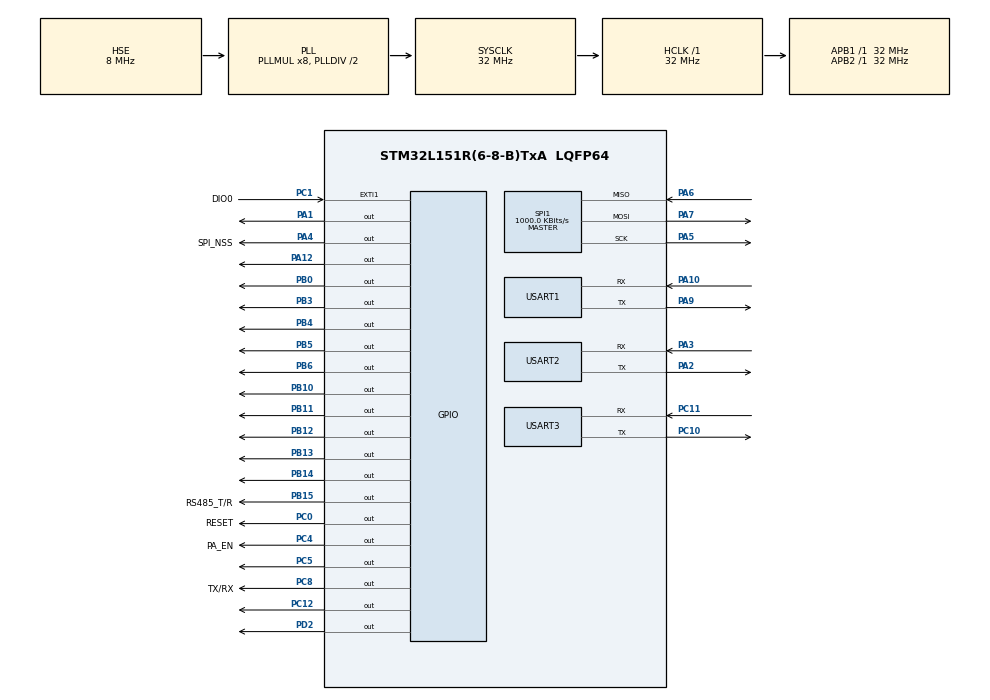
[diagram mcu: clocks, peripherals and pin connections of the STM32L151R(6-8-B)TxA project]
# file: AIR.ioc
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Dma.Request0=USART1_RX
Dma.USART1_RX.0.Direction=DMA_PERIPH_TO_MEMORY
Dma.USART1_RX.0.Instance=DMA1_Channel5
Dma.USART1_RX.0.MemDataAlignment=DMA_MDATAALIGN_BYTE
Dma.USART1_RX.0.MemInc=DMA_MINC_ENABLE
Dma.USART1_RX.0.Mode=DMA_CIRCULAR
Dma.USART1_RX.0.PeriphDataAlignment=DMA_PDATAALIGN_BYTE
Dma.USART1_RX.0.PeriphInc=DMA_PINC_DISABLE
Dma.USART1_RX.0.Priority=DMA_PRIORITY_MEDIUM
Mcu.Family=STM32L1
Mcu.Name=STM32L151R(6-8-B)TxA
Mcu.Package=LQFP64
NVIC.DMA1_Channel5_IRQn=true\:0\:0\:false\:false\:true\:false
NVIC.EXTI1_IRQn=true\:0\:0\:false\:false\:true\:true
NVIC.PriorityGroup=NVIC_PRIORITYGROUP_4
NVIC.USART1_IRQn=true\:0\:0\:false\:false\:true\:true
NVIC.USART2_IRQn=true\:0\:0\:false\:false\:true\:true
PA1.Signal=GPIO_Output
PA10.Mode=Asynchronous
PA10.Signal=USART1_RX
PA12.Signal=GPIO_Output
PA13.Mode=Serial_Wire
PA13.Signal=SYS_JTMS-SWDIO
PA14.Mode=Serial_Wire
PA14.Signal=SYS_JTCK-SWCLK
PA2.Mode=Asynchronous
PA2.Signal=USART2_TX
PA3.Mode=Asynchronous
PA3.Signal=USART2_RX
PA4.GPIO_Label=SPI_NSS
PA4.GPIO_PuPd=GPIO_PULLUP
PA4.Signal=GPIO_Output
PA5.Mode=Full_Duplex_Master
PA5.Signal=SPI1_SCK
PA6.Mode=Full_Duplex_Master
PA6.Signal=SPI1_MISO
PA7.Mode=Full_Duplex_Master
PA7.Signal=SPI1_MOSI
PA9.Mode=Asynchronous
PA9.Signal=USART1_TX
PB0.Signal=GPIO_Output
PB10.Signal=GPIO_Output
PB11.Signal=GPIO_Output
PB12.Signal=GPIO_Output
PB13.Signal=GPIO_Output
PB14.Signal=GPIO_Output
PB15.GPIO_Label=RS485_T/R
PB15.GPIO_PuPd=GPIO_PULLDOWN
PB15.Signal=GPIO_Output
PB3.Signal=GPIO_Output
PB4.Signal=GPIO_Output
PB5.Signal=GPIO_Output
PB6.Signal=GPIO_Output
PC0.GPIO_Label=RESET
PC0.GPIO_PuPd=GPIO_PULLUP
PC0.Signal=GPIO_Output
PC1.GPIO_Label=DIO0
PC1.GPIO_PuPd=GPIO_PULLDOWN
PC1.Signal=GPXTI1
PC10.Mode=Asynchronous
PC10.Signal=USART3_TX
PC11.Mode=Asynchronous
PC11.Signal=USART3_RX
PC12.Signal=GPIO_Output
PC14-OSC32_IN.Mode=LSE-External-Clock-Source
PC14-OSC32_IN.Signal=RCC_OSC32_IN
PC4.GPIO_Label=PA_EN
PC4.GPIO_PuPd=GPIO_PULLDOWN
PC4.Signal=GPIO_Output
PC5.Signal=GPIO_Output
PC8.GPIO_Label=TX/RX
PC8.GPIO_PuPd=GPIO_PULLUP
PC8.PinState=GPIO_PIN_SET
PC8.Signal=GPIO_Output
PD2.Signal=GPIO_Output
PH0-OSC_IN.Mode=HSE-External-Clock-Source
PH0-OSC_IN.Signal=RCC_OSC_IN
ProjectManager.HeapSize=0x200
ProjectManager.StackSize=0x400
ProjectManager.TargetToolchain=MDK-ARM V5
RCC.AHBFreq_Value=32000000
RCC.APB1Freq_Value=32000000
RCC.APB1TimFreq_Value=32000000
RCC.APB2Freq_Value=32000000
RCC.APB2TimFreq_Value=32000000
RCC.HCLKFreq_Value=32000000
RCC.HSE_VALUE=8000000
RCC.HSI_VALUE=16000000
RCC.LSE_VALUE=32768
RCC.MSI_VALUE=2097000
RCC.PLLMUL=RCC_PLL_MUL8
RCC.PLLSourceVirtual=RCC_PLLSOURCE_HSE
RCC.SYSCLKFreq_VALUE=32000000
RCC.SYSCLKSource=RCC_SYSCLKSOURCE_PLLCLK
RCC.USBOutput=32000000
RCC.VCOOutputFreq_Value=64000000
SPI1.BaudRatePrescaler=SPI_BAUDRATEPRESCALER_32
SPI1.CalculateBaudRate=1000.0 KBits/s
SPI1.Direction=SPI_DIRECTION_2LINES
SPI1.Mode=SPI_MODE_MASTER
SPI1.VirtualType=VM_MASTER
USART1.VirtualMode=VM_ASYNC
USART2.VirtualMode=VM_ASYNC
USART3.VirtualMode=VM_ASYNC
board=AIR

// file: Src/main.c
/**
  ******************************************************************************
  * File Name          : main.c
  * Description        : Main program body
  ******************************************************************************
  ** This notice applies to any and all portions of this file
  * that are not between comment pairs USER CODE BEGIN and
  * USER CODE END. Other portions of this file, whether
  * inserted by the user or by software development tools
  * are owned by their respective copyright owners.
  *
  * COPYRIGHT(c) 2018 STMicroelectronics
  *
  * Redistribution and use in source and binary forms, with or without modification,
  * are permitted provided that the following conditions are met:
  *   1. Redistributions of source code must retain the above copyright notice,
  *      this list of conditions and the following disclaimer.
  *   2. Redistributions in binary form must reproduce the above copyright notice,
  *      this list of conditions and the following disclaimer in the documentation
  *      and/or other materials provided with the distribution.
  *   3. Neither the name of STMicroelectronics nor the names of its contributors
  *      may be used to endorse or promote products derived from this software
  *      without specific prior written permission.
  *
  * THIS SOFTWARE IS PROVIDED BY THE COPYRIGHT HOLDERS AND CONTRIBUTORS "AS IS"
  * AND ANY EXPRESS OR IMPLIED WARRANTIES, INCLUDING, BUT NOT LIMITED TO, THE
  * IMPLIED WARRANTIES OF MERCHANTABILITY AND FITNESS FOR A PARTICULAR PURPOSE ARE
  * DISCLAIMED. IN NO EVENT SHALL THE COPYRIGHT HOLDER OR CONTRIBUTORS BE LIABLE
  * FOR ANY DIRECT, INDIRECT, INCIDENTAL, SPECIAL, EXEMPLARY, OR CONSEQUENTIAL
  * DAMAGES (INCLUDING, BUT NOT LIMITED TO, PROCUREMENT OF SUBSTITUTE GOODS OR
  * SERVICES; LOSS OF USE, DATA, OR PROFITS; OR BUSINESS INTERRUPTION) HOWEVER
  * CAUSED AND ON ANY THEORY OF LIABILITY, WHETHER IN CONTRACT, STRICT LIABILITY,
  * OR TORT (INCLUDING NEGLIGENCE OR OTHERWISE) ARISING IN ANY WAY OUT OF THE USE
  * OF THIS SOFTWARE, EVEN IF ADVISED OF THE POSSIBILITY OF SUCH DAMAGE.
  *
  ******************************************************************************
  */
#include "main.h"
#include "stm32l1xx_hal.h"
#include "dma.h"
#include "spi.h"
#include "usart.h"
#include "gpio.h"

/* USER CODE BEGIN Includes */
//#include "string.h"
/* USER CODE END Includes */

/* USER CODE BEGIN PV */
/* Private variables ---------------------------------------------------------*/

#define	TX 0
#define	RX 1

uint8_t mode;

uint8_t send_msg[10];
uint8_t serial_num=0x30,cicular=0x30;

//#define  RS485_TX      HAL_GPIO_WritePin(GPIOB, GPIO_PIN_15,GPIO_PIN_SET)
//#define  RS485_RX      HAL_GPIO_WritePin(GPIOB, GPIO_PIN_15,GPIO_PIN_RESET)

#define MAX_LEN 20  //最大输入指令长度

int return_flag=0;
RECEIVE_CMD rx_cmd;

/////////////////读取温度//////////////////////
int32_t AD_Value;float temp,temp_value;

uint16_t *TS_CAL1=(uint16_t *)0x1FF8007A;
uint16_t *TS_CAL2=(uint16_t *)0x1FF8007E;

int32_t temp1,temp2;

///////////////////////////////////////////////
//uint8_t test_spi,test_irq,reg_addr,asc2_tmp,bw;//reg_value_l,reg_value_h;
uint8_t test_spi,test_irq,reg_addr,asc2_tmp,bw,asc2_power,asc2_cr;
uint16_t asc2_freq;
uint8_t reg_value_hex[2];
uint8_t uart_flag;//串口完成标志位
uint8_t recv_len,cmd_len;//串口接收数，指令长度
uint8_t recv_len_2;

uint8_t uart_buff[MAX_LEN],cmd_buff[MAX_LEN];//保存指令
uint8_t uart2_buff[MAX_LEN];//

uint8_t ready=0,complt=0;//串口接收完成标志位
uint8_t ready_2=0,complt_2=0;//串口接收完成标志位

uint8_t reg_value,res=0x00;

//uint8_t error_tip[]={0xff,0xff,0xff,0xff,0xff};
uint8_t msg[]="hello\r\n";
uint8_t error_tip[]={0x58,0x58,0x58,0x58,0x58};
uint8_t newline[]={0x0d,0x0a};
uint8_t tmp[10]={0x00};
//uint8_t lora_send[] = {"123456"};

//uint8_t cmd_help[]="help";
//uint8_t cmd_read_sx_reg[]="read reg";
//uint8_t sep[2]={0x0d,0x0a};
//uint8_t sep[2]={65,66};

//uint8_t reg_addr[BUF_LEN];
uint8_t len;
uint8_t Loradata[50];
/* USER CODE END PV */

void SystemClock_Config(void);

/* USER CODE BEGIN PFP */
/* Private function prototypes -----------------------------------------------*/
void Usart1SendData_DMA(uint8_t *pdata, uint16_t Length);
void TestIO(void);
/* USER CODE END PFP */

int main(void)
{

  /* MCU Configuration----------------------------------------------------------*/

  /* Reset of all peripherals, Initializes the Flash interface and the Systick. */
  HAL_Init();

  /* Configure the system clock */
  SystemClock_Config();

  /* Initialize all configured peripherals */
  MX_GPIO_Init();
  MX_DMA_Init();
  MX_USART1_UART_Init();
  MX_SPI1_Init();
  MX_USART2_UART_Init();
  MX_USART3_UART_Init();

  /* USER CODE BEGIN 2 */

	HAL_UART_Receive_DMA(&huart1, UsartType1.usartDMA_rxBuf, RECEIVELEN);
	__HAL_UART_ENABLE_IT(&huart1, UART_IT_IDLE);

	Lora_Init();

	mode=RX;
	if(mode==RX)
	{
		RS485_TX;
		printf("\r\nAIR Terminal(Rx) initialization complete\r\n");
		RS485_RX;
	}
	else
	{
		RS485_TX;
		printf("\r\nGROUND Terminal(Tx) initialization complete\r\n");
		RS485_RX;
	}

	HAL_UART_Transmit(&huart2,error_tip,sizeof(error_tip),1000);
	HAL_UART_Transmit(&huart2,newline,sizeof(newline),1000);
  /* USER CODE END 2 */

  /* Infinite loop */
  while (1)
  {

  /* USER CODE BEGIN 3 */
		//TestIO();
		if(mode==RX)
		{
			//HAL_Delay(1000);
	///////////////////////////////////打印接收信息///////////////////////////////////////////
			if(len>0)
			{
				RS485_TX;
				HAL_UART_Transmit(&huart1,Loradata,len,1000);
				RS485_RX;
				len=0;
				memset(Loradata,0,sizeof(Loradata));
			}
		}
		else if ( mode == TX)
		{
			memset(send_msg,serial_num,7);
			memset(&send_msg[7],cicular,1);
			memset(&send_msg[8],0x0d,1);
			memset(&send_msg[9],0x0a,1);
			if(serial_num<0x39)
				serial_num++;
			else
			{
				serial_num=0x30;
				cicular++;
				if(cicular>0x39)
					cicular=0x30;
			}
			Lora_Send(send_msg,10);
			HAL_Delay(3000);
		}

//////////////////////////////////////////////////////////////////////////////////////////

				if(UsartType1.receive_flag)//产生空闲中断
        {
					UsartType1.receive_flag=0;//清零标记
		//////////////////////////////////////////////
					if(UsartType1.rx_len==4)
					{
						//reg_addr=asc2Hex(UsartType1.usartDMA_rxBuf,2);
						reg_addr=asc2base(UsartType1.usartDMA_rxBuf,2,16);
						if(reg_addr<0x71)
						{
							reg_value=SX1276ReadBuffer(reg_addr);
							reg_value_hex[0]=Hex2asc_h(reg_value);
							reg_value_hex[1]=Hex2asc_l(reg_value);
							RS485_TX;
							HAL_UART_Transmit(&huart1,((uint8_t *)"0x"),2,1000);
							HAL_UART_Transmit(&huart1,reg_value_hex,2,1000);
							printf("\r\n");
							RS485_RX;
//							reg_value=SX1276ReadBuffer(reg_addr);
//							reg_value_hex[0]=Hex2asc_h(reg_value);
//							reg_value_hex[1]=Hex2asc_l(reg_value);
//							printf("%s\r\n",reg_value_hex);
						}
						else
						{
							RS485_TX;
							printf("%s\r\n",error_tip);
							RS485_TX;
						}
					}
					//////////////////////////////////配置参数///////////////////////////////////////
					else if((!memcmp(rx_cmd.cmdBuf,"sf",2)) || (!memcmp(rx_cmd.cmdBuf,"SF",2))) //改扩频因子
					{
						if(rx_cmd.cmd_Len==6)
							asc2_tmp=asc2base(&rx_cmd.cmdBuf[3],1,10);
						else if(rx_cmd.cmd_Len==7)
							asc2_tmp=asc2base(&rx_cmd.cmdBuf[3],2,10);
							Chg_SF(asc2_tmp);
					}

					else if((!memcmp(rx_cmd.cmdBuf,"bw",2)) || (!memcmp(rx_cmd.cmdBuf,"BW",2))) //改带宽
					{
						if(!memcmp(&rx_cmd.cmdBuf[3],"7.8",3))   bw=0x00;
						else if(!memcmp(&rx_cmd.cmdBuf[3],"10.4",4))  bw=0x01;
						else if(!memcmp(&rx_cmd.cmdBuf[3],"15.6",4))  bw=0x02;
						else if(!memcmp(&rx_cmd.cmdBuf[3],"20.8",4))  bw=0x03;
						else if(!memcmp(&rx_cmd.cmdBuf[3],"31.25",5)) bw=0x04;
						else if(!memcmp(&rx_cmd.cmdBuf[3],"41.7",4))  bw=0x05;
						else if(!memcmp(&rx_cmd.cmdBuf[3],"62.5",4))  bw=0x06;
						else if(!memcmp(&rx_cmd.cmdBuf[3],"125",3))   bw=0x07;
						else if(!memcmp(&rx_cmd.cmdBuf[3],"250",3))   bw=0x08;
						else if(!memcmp(&rx_cmd.cmdBuf[3],"500",3))   bw=0x09;
						else bw=0xff;
						Chg_BW(bw);
					}

					else if((!memcmp(rx_cmd.cmdBuf,"pw",2)) || (!memcmp(rx_cmd.cmdBuf,"PW",2))) //改功率
					{
						if(rx_cmd.cmd_Len==6)
							asc2_power=asc2base(&rx_cmd.cmdBuf[3],1,10);
						else if(rx_cmd.cmd_Len==7)
							asc2_power=asc2base(&rx_cmd.cmdBuf[3],2,10);
						Chg_Power(asc2_power);
					}

					else if((!memcmp(rx_cmd.cmdBuf,"freq",4)) || (!memcmp(rx_cmd.cmdBuf,"FREQ",4))) //改频率
					{
						//rx_cmd.cmd_Len++;
						if(rx_cmd.cmd_Len==10)
							asc2_freq=(asc2base(&rx_cmd.cmdBuf[5],1,10))*100+(asc2base(&rx_cmd.cmdBuf[6],1,10))*10+asc2base(&rx_cmd.cmdBuf[7],1,10);
						else if(rx_cmd.cmd_Len==11)
							asc2_freq=(asc2base(&rx_cmd.cmdBuf[5],1,10))*1000+(asc2base(&rx_cmd.cmdBuf[6],1,10))*100+(asc2base(&rx_cmd.cmdBuf[7],1,10))*10+asc2base(&rx_cmd.cmdBuf[8],1,10);
						Chg_Freq(asc2_freq);
					}

					else if((!memcmp(rx_cmd.cmdBuf,"cr",2)) || (!memcmp(rx_cmd.cmdBuf,"CR",2))) //改编码率
					{
						asc2_cr=asc2base(&rx_cmd.cmdBuf[3],1,10);
						Chg_CR(asc2_cr);
					}

					else if ((!memcmp(rx_cmd.cmdBuf,"tx_mode",7)) || (!memcmp(rx_cmd.cmdBuf,"TX_MODE",7))) //改变收发状态
					{
						mode=TX;
						RS485_TX;
						printf("RF Mode has changed to TX\r\n");
						RS485_RX;
					}

					else if ((!memcmp(rx_cmd.cmdBuf,"rx_mode",7)) || (!memcmp(rx_cmd.cmdBuf,"RX_MODE",7))) //改变收发状态
					{
						mode=RX;
						RS485_TX;
						printf("RF Mode has changed to RX\r\n");
						RS485_RX;
					}

					////////////////////////////////////////////////////////////////////////
					else
					{
						if((!memcmp(UsartType1.usartDMA_rxBuf,"temp",4)) || (!memcmp(UsartType1.usartDMA_rxBuf,"TEMP",4)))
							Show_Temp();
						else
						{
							RS485_TX;
							printf("%s\r\n",error_tip);
							RS485_RX;
						}
					}
        }

  }
  /* USER CODE END 3 */

}

/** System Clock Configuration
*/
void SystemClock_Config(void)
{

  RCC_OscInitTypeDef RCC_OscInitStruct;
  RCC_ClkInitTypeDef RCC_ClkInitStruct;

    /**Configure the main internal regulator output voltage
    */
  __HAL_PWR_VOLTAGESCALING_CONFIG(PWR_REGULATOR_VOLTAGE_SCALE1);

    /**Initializes the CPU, AHB and APB busses clocks
    */
  RCC_OscInitStruct.OscillatorType = RCC_OSCILLATORTYPE_HSE;
  RCC_OscInitStruct.HSEState = RCC_HSE_BYPASS;
  RCC_OscInitStruct.PLL.PLLState = RCC_PLL_ON;
  RCC_OscInitStruct.PLL.PLLSource = RCC_PLLSOURCE_HSE;
  RCC_OscInitStruct.PLL.PLLMUL = RCC_PLL_MUL8;
  RCC_OscInitStruct.PLL.PLLDIV = RCC_PLL_DIV2;
  if (HAL_RCC_OscConfig(&RCC_OscInitStruct) != HAL_OK)
  {
    _Error_Handler(__FILE__, __LINE__);
  }

    /**Initializes the CPU, AHB and APB busses clocks
    */
  RCC_ClkInitStruct.ClockType = RCC_CLOCKTYPE_HCLK|RCC_CLOCKTYPE_SYSCLK
                              |RCC_CLOCKTYPE_PCLK1|RCC_CLOCKTYPE_PCLK2;
  RCC_ClkInitStruct.SYSCLKSource = RCC_SYSCLKSOURCE_PLLCLK;
  RCC_ClkInitStruct.AHBCLKDivider = RCC_SYSCLK_DIV1;
  RCC_ClkInitStruct.APB1CLKDivider = RCC_HCLK_DIV1;
  RCC_ClkInitStruct.APB2CLKDivider = RCC_HCLK_DIV1;

  if (HAL_RCC_ClockConfig(&RCC_ClkInitStruct, FLASH_LATENCY_1) != HAL_OK)
  {
    _Error_Handler(__FILE__, __LINE__);
  }

    /**Configure the Systick interrupt time
    */
  HAL_SYSTICK_Config(HAL_RCC_GetHCLKFreq()/1000);

    /**Configure the Systick
    */
  HAL_SYSTICK_CLKSourceConfig(SYSTICK_CLKSOURCE_HCLK);

  /* SysTick_IRQn interrupt configuration */
  HAL_NVIC_SetPriority(SysTick_IRQn, 0, 0);
}

/* USER CODE BEGIN 4 */

void HAL_GPIO_EXTI_Callback(uint16_t GPIO_Pin)
{
	SX1278_Interupt();
}

void HAL_UART_RxCpltCallback(UART_HandleTypeDef *huart)
//void UART_IDLECallBack(UART_HandleTypeDef *huart)
{
	if (huart->Instance==USART1)
	{
		uart_buff[recv_len]=res;
		recv_len++;
		//if(__HAL_UART_GET_FLAG(&huart1, UART_FLAG_IDLE) != RESET)
		switch(res)
		{
			case 0x0d :
				if(ready==0)
				{
					ready=1;
				}
				else
				{
					ready=0;memset(uart_buff,0,sizeof(MAX_LEN));recv_len=0;
				}
				break;

			case 0x0a :
				if(ready==1)
				{
					complt=1;
				}
				else
				{
					memset(uart_buff,0,MAX_LEN);recv_len=0;
				}
				break;

			default :
				break;
		}
		if(complt==1)
		{
			memcpy(cmd_buff,uart_buff,MAX_LEN);
			memset(uart_buff,0,MAX_LEN);
			cmd_len=recv_len;uart_flag=1;
			complt=0;ready=0;recv_len=0;
		}
	HAL_UART_Receive_IT(&huart1,&res,1);
	}
	if (huart->Instance==USART2)
	{
//		if((tmp[8]==0x0d)&&(tmp[9]==0x0a))
//			HAL_UART_Transmit(&huart2,msg,sizeof(msg),1000);
//		HAL_UART_Receive_IT(&huart2,tmp,10);
	}

}

////DMA发送函数
//void Usart1SendData_DMA(uint8_t *pdata, uint16_t Length)
//{
//    while(UsartType1.dmaSend_flag == USART_DMA_SENDING);
//    UsartType1.dmaSend_flag = USART_DMA_SENDING;
//    HAL_UART_Transmit_DMA(&huart1, pdata, Length);
//}
//
////DMA发送完成中断回调函数
//void HAL_UART_TxCpltCallback(UART_HandleTypeDef *huart)
//{
//     __HAL_DMA_DISABLE(huart->hdmatx);
//    UsartType1.dmaSend_flag = USART_DMA_SENDOVER;
//}

////DMA接收空闲中断
//void UsartReceive_IDLE(UART_HandleTypeDef *huart)
//{
//    uint32_t temp;
//
//    if((__HAL_UART_GET_FLAG(huart,UART_FLAG_IDLE) != RESET))
//    {
//        __HAL_UART_CLEAR_IDLEFLAG(&huart1);
//        HAL_UART_DMAStop(&huart1);
//        //temp = huart1.hdmarx->Instance->NDTR;
//				temp = huart1.hdmarx->Instance->CNDTR;
//        UsartType1.rx_len =  RECEIVELEN - temp;
//        UsartType1.receive_flag=1;
//        HAL_UART_Receive_DMA(&huart1,UsartType1.usartDMA_rxBuf,RECEIVELEN);
//    }
//}

void Show_Temp(void)
{
//	uint8_t i,times;
//	times=50;
//	for(i=0;i<times;i++)
//	{
//		HAL_ADC_PollForConversion(&hadc, 50);
//		if(HAL_IS_BIT_SET(HAL_ADC_GetState(&hadc), HAL_ADC_STATE_REG_EOC))
//		{
//			AD_Value = HAL_ADC_GetValue(&hadc);
//			temp1=((int32_t)(*TS_CAL1));
//			temp2=((int32_t)(*TS_CAL2));
//			temp_value=((110-30)/(((float)temp2)-((float)temp1)))*(AD_Value-(*TS_CAL2))+110;
//
//			//AD_Value = ((HAL_ADC_GetValue(&hadc))*3300/4096-760)/2.5+25;
//			//printf("MCU Temperature : %.1f℃\r\n",((AD_Value*3300/4096-760)/2.5+25));
//			//printf("MCU Temperature : %.1f℃\r\n",AD_Value);
//		}
//		temp=temp+temp_value;
//		if(i==(times-1))
//		{
//			temp=temp/times;
//			printf("Temprature : %f℃\r\n",temp);
//		}
//	}
}

/*------------------------------------------------------/
将输入的ASCII字符直接转化为字面数字
参数；1.需要转换字符其实地址；2.转换字节个数；3.转换进制(10,16)
输出：转换完成字节
*------------------------------------------------------*/
uint8_t asc2base(uint8_t * cmd, uint8_t len, uint8_t base)
{
	uint8_t a,asc2base=0,temp=0;
	for(a=0;a<len;a++)
	{
		temp=cmd[a];
		if((cmd[a]>47)&&(cmd[a]<58)) temp=temp-48;
		if((cmd[a]>64)&&(cmd[a]<71)) temp=temp-55;
		if((cmd[a]>96)&&(cmd[a]<103)) temp=temp-87;
		asc2base=asc2base*base+temp;
	}
	return asc2base;
//	uint8_t a,asc2base=0;
//	for(a=0;a<len;a++)
//	{
//		if((cmd[a]>47)&&(cmd[a]<58)) cmd[a]=cmd[a]-48;
//		if((cmd[a]>64)&&(cmd[a]<71)) cmd[a]=cmd[a]-55;
//		if((cmd[a]>96)&&(cmd[a]<103)) cmd[a]=cmd[a]-87;
//		asc2base=asc2base*base+cmd[a];
//	}
//	return asc2base;
}

///*------------------------------------------------------/
//将asc字符转化为16进制数
//参数1.需要转换字符其实地址
//参数2.转换字节个数
//*------------------------------------------------------*/
//uint8_t asc2Hex(uint8_t * cmd, uint8_t len)
//{
//	uint8_t a,asc2hex=0;
//	for(a=0;a<len;a++)
//	{
//		if((cmd[a]>47)&&(cmd[a]<58)) cmd[a]=cmd[a]-48;
//		if((cmd[a]>64)&&(cmd[a]<71)) cmd[a]=cmd[a]-55;
//		if((cmd[a]>96)&&(cmd[a]<103)) cmd[a]=cmd[a]-87;
//
//		asc2hex=(asc2hex<<(a*4))+cmd[a];
//	}
//	return asc2hex;
//}

uint8_t Hex2asc_l(uint8_t data)
{
	uint8_t low;
	low=(data&0x0f);
	low=(low>9)?(low+87):(low+48);
	return low;
}

uint8_t Hex2asc_h(uint8_t data)
{
	uint8_t high;
	high=(data>>4);
	high=(high>9)?(high+87):(high+48);
	return high;
}

void Chg_SF(uint8_t sf)
{
	if((asc2_tmp>5)&&(asc2_tmp<13))
	{
		SX1276LoRaSetOpMode(Stdby_mode);
		SX1276LoRaSetSpreadingFactor(sf);
		RF_RECEIVE();
		RS485_TX;
		printf("SF has changed to %d\r\n",sf);
		RS485_RX;
	}
	else
	{
		RS485_TX;
		printf("SF input incorrect...(6~12)\r\n");
		RS485_RX;
	}
}

void Chg_BW(uint8_t bw)
{
	if(bw!=0xff)
	{
		SX1276LoRaSetOpMode(Stdby_mode);
		SX1276LoRaSetSignalBandwidth( bw );
		RF_RECEIVE();
		RS485_TX;
		printf("BW has changed to %s",&rx_cmd.cmdBuf[3]);
		RS485_RX;
		//HAL_UART_Transmit(&huart1,&rx_cmd.cmdBuf[3],(rx_cmd.cmd_Len-5),1000);
		//printf("\r\n");
	}
	else
	{
		RS485_TX;
		printf("BW input incorrect... ( 7.8  10.4  15.6  20.8  31.25  41.7  62.5  125  250  500  )\r\n");
		RS485_RX;
	}
}

void Chg_Power(uint8_t power)  //Pout=(10.8+0.6*max)-(15-output)
{
	uint8_t powervalue,max,output;
	float output_tmp=0;
	switch (power)
	{
		case 0: // min (-4.2dbm)
			max=0;output=0;
			break;
		case 1: // -3.2dbm
			max=0;output=1;
			break;
		case 2: // -2.2dbm
			max=0;output=2;
			break;
		case 3: // -1.2dbm
			max=0;output=3;
			break;
		case 4: // -0.2dbm
			max=0;output=4;
			break;
		case 5: // 0dbm
			max=7;output=0;
			break;
		case 6: // 1dbm
			max=7;output=1;
			break;
		case 7: // 2dbm
			max=7;output=2;
			break;
		case 8: // 3dbm
			max=7;output=3;
			break;
		case 9: // 4dbm
			max=7;output=4;
			break;
		case 10: // 5dbm
			max=7;output=5;
			break;
		case 11: // 6dbm
			max=7;output=6;
			break;
		case 12: // 7dbm
			max=7;output=7;
			break;
		case 13: // 8dbm
			max=7;output=8;
			break;
		case 14: // 9dbm
			max=7;output=9;
			break;
		case 15: // 10dbm
			max=7;output=10;
			break;
		case 16: // 11dbm
			max=7;output=11;
			break;
		case 17: // 12dbm
			max=7;output=12;
			break;
		case 18: // 13dbm
			max=7;output=13;
			break;
		case 19: // 14dbm
			max=7;output=14;
			break;
		case 20: // 15dbm
			max=7;output=15;
			break;
		default:
			max=0xff;
			break;
	}

	if(max==0xff)
	{
		RS485_TX;
		printf("Power input incorrect... (0~20)\r\n");
		RS485_RX;
	}
	else
	{
		powervalue=(max<<4)+output;
		SX1276LoRaSetOpMode(Stdby_mode);
		SX1276WriteBuffer( REG_LR_PACONFIG,  powervalue);
		output_tmp=(10.8+0.6*max)-(15-output);
		RS485_TX;
		printf("Power has changed to %.1f dBm!\r\n",output_tmp);
		RS485_RX;
	}

//	if(power<15)
//	{
//		powervalue=0x50+(power+1);
//		SX1276LoRaSetOpMode(Stdby_mode);
//		SX1276WriteBuffer( REG_LR_PACONFIG,  powervalue);
//		if(rx_cmd.cmd_Len==6)
//		{
//			output_tmp=(float)asc2base(&rx_cmd.cmdBuf[3],1,10)-0.2;
//			RS485_TX;
//			printf("Power has changed to %.1f dBm!\r\n",output_tmp);
//			RS485_RX;
//			//HAL_UART_Transmit(&huart1,&rx_cmd.cmdBuf[3],(rx_cmd.cmd_Len-5),1000);
//			//printf(" dbm\r\n");
//		}
//		else if(rx_cmd.cmd_Len==7)
//		{
//			output_tmp=(asc2base(&rx_cmd.cmdBuf[3],2,10)-0.2);
//			RS485_TX;
//			printf("Power has changed to %.1f dBm!\r\n",output_tmp);
//			RS485_RX;
//		}

//	}
//	else
//	{
//		RS485_TX;
//		printf("Power input incorrect... (0~14)\r\n");
//		RS485_RX;
//	}
}

//void Chg_Power(uint8_t power)
//{
//	uint8_t powervalue;
//	float output_tmp=0;
//	if(power<15)
//	{
//		powervalue=0x50+(power+1);
//		SX1276LoRaSetOpMode(Stdby_mode);
//		SX1276WriteBuffer( REG_LR_PACONFIG,  powervalue);
//		if(rx_cmd.cmd_Len==6)
//		{
//			output_tmp=(float)asc2base(&rx_cmd.cmdBuf[3],1,10)-0.2;
//			RS485_TX;
//			printf("Power has changed to %.1f dBm!\r\n",output_tmp);
//			RS485_RX;
//			//HAL_UART_Transmit(&huart1,&rx_cmd.cmdBuf[3],(rx_cmd.cmd_Len-5),1000);
//			//printf(" dbm\r\n");
//		}
//		else if(rx_cmd.cmd_Len==7)
//		{
//			output_tmp=(asc2base(&rx_cmd.cmdBuf[3],2,10)-0.2);
//			RS485_TX;
//			printf("Power has changed to %.1f dBm!\r\n",output_tmp);
//			RS485_RX;
//		}

//	}
//	else
//	{
//		RS485_TX;
//		printf("Power input incorrect... (0~14)\r\n");
//		RS485_RX;
//	}
//}

void Chg_Freq(uint16_t freq)
{
	uint8_t frq[3]={0,0,0};
	uint32_t output_tmp;
	if((freq<1021)&&(freq>136))
	{
		output_tmp=freq<<14;
		frq[0]=output_tmp&(0x000000ff);
		frq[1]=(output_tmp&(0x0000ff00))>>8;
		frq[2]=(output_tmp&(0x00ff0000))>>16;
		SX1276WriteBuffer( REG_LR_FRFMSB, frq[2]);
		SX1276WriteBuffer( REG_LR_FRFMID, frq[1]);
		SX1276WriteBuffer( REG_LR_FRFLSB, frq[0]);
		RS485_TX;
		printf("Frequency has changed to %s",&rx_cmd.cmdBuf[5]);
		RS485_RX;
	}
	else
	{
		RS485_TX;
		printf("Frequency input incorrect...( 137~1020 )\r\n");
		RS485_RX;
	}
}

void Chg_CR(uint8_t CR)
{
	if(CR<5)
	{
		SX1276LoRaSetOpMode(Stdby_mode);
		//SX1276LoRaSetErrorCoding(CR);

	 unsigned char RECVER_DAT;
	 RECVER_DAT=SX1276ReadBuffer( REG_LR_MODEMCONFIG1);
	 RECVER_DAT = ( RECVER_DAT & RFLR_MODEMCONFIG1_CODINGRATE_MASK ) | ( CR << 1 );
	 RECVER_DAT=RECVER_DAT | 1 ;
	 SX1276WriteBuffer( REG_LR_MODEMCONFIG1, RECVER_DAT);

		RF_RECEIVE();
		RS485_TX;
		printf("CR has changed to %s",&rx_cmd.cmdBuf[3]);
		RS485_RX;
	}
	else
	{
		RS485_TX;
		printf("CR input incorrect... ( 1~4 )\r\n");
		RS485_RX;
	}
}

void TestIO(void)
{
///////////////////////////////IO拉高////////////////////////////////////
	HAL_GPIO_WritePin(GPIOA, GPIO_PIN_1,GPIO_PIN_SET);
//	HAL_GPIO_WritePin(GPIOA, GPIO_PIN_4,GPIO_PIN_SET);
	HAL_GPIO_WritePin(GPIOA, GPIO_PIN_12,GPIO_PIN_SET);
	HAL_GPIO_WritePin(GPIOB, GPIO_PIN_0,GPIO_PIN_SET);
//	HAL_GPIO_WritePin(GPIOB, GPIO_PIN_3,GPIO_PIN_SET);
//	HAL_GPIO_WritePin(GPIOB, GPIO_PIN_4,GPIO_PIN_SET);
//	HAL_GPIO_WritePin(GPIOB, GPIO_PIN_5,GPIO_PIN_SET);
	HAL_GPIO_WritePin(GPIOB, GPIO_PIN_6,GPIO_PIN_SET);
	HAL_GPIO_WritePin(GPIOB, GPIO_PIN_10,GPIO_PIN_SET);
	HAL_GPIO_WritePin(GPIOB, GPIO_PIN_11,GPIO_PIN_SET);
	HAL_GPIO_WritePin(GPIOB, GPIO_PIN_12,GPIO_PIN_SET);
	HAL_GPIO_WritePin(GPIOB, GPIO_PIN_13,GPIO_PIN_SET);
	HAL_GPIO_WritePin(GPIOB, GPIO_PIN_14,GPIO_PIN_SET);
//	HAL_GPIO_WritePin(GPIOB, GPIO_PIN_15,GPIO_PIN_SET);
//	HAL_GPIO_WritePin(GPIOC, GPIO_PIN_0,GPIO_PIN_SET);
//	HAL_GPIO_WritePin(GPIOC, GPIO_PIN_1,GPIO_PIN_SET);
	HAL_GPIO_WritePin(GPIOC, GPIO_PIN_4,GPIO_PIN_SET);
	HAL_GPIO_WritePin(GPIOC, GPIO_PIN_5,GPIO_PIN_SET);
	HAL_GPIO_WritePin(GPIOC, GPIO_PIN_8,GPIO_PIN_SET);
//	HAL_GPIO_WritePin(GPIOC, GPIO_PIN_12,GPIO_PIN_SET);
//	HAL_GPIO_WritePin(GPIOD, GPIO_PIN_2,GPIO_PIN_SET);

	HAL_Delay(1000);

///////////////////////////////IO拉低////////////////////////////////////
	HAL_GPIO_WritePin(GPIOA, GPIO_PIN_1,GPIO_PIN_RESET);
//	HAL_GPIO_WritePin(GPIOA, GPIO_PIN_4,GPIO_PIN_RESET);
	HAL_GPIO_WritePin(GPIOA, GPIO_PIN_12,GPIO_PIN_RESET);
	HAL_GPIO_WritePin(GPIOB, GPIO_PIN_0,GPIO_PIN_RESET);
//	HAL_GPIO_WritePin(GPIOB, GPIO_PIN_3,GPIO_PIN_RESET);
//	HAL_GPIO_WritePin(GPIOB, GPIO_PIN_4,GPIO_PIN_RESET);
//	HAL_GPIO_WritePin(GPIOB, GPIO_PIN_5,GPIO_PIN_RESET);
	HAL_GPIO_WritePin(GPIOB, GPIO_PIN_6,GPIO_PIN_RESET);
	HAL_GPIO_WritePin(GPIOB, GPIO_PIN_10,GPIO_PIN_RESET);
	HAL_GPIO_WritePin(GPIOB, GPIO_PIN_11,GPIO_PIN_RESET);
	HAL_GPIO_WritePin(GPIOB, GPIO_PIN_12,GPIO_PIN_RESET);
	HAL_GPIO_WritePin(GPIOB, GPIO_PIN_13,GPIO_PIN_RESET);
	HAL_GPIO_WritePin(GPIOB, GPIO_PIN_14,GPIO_PIN_RESET);
//	HAL_GPIO_WritePin(GPIOB, GPIO_PIN_15,GPIO_PIN_RESET);
//	HAL_GPIO_WritePin(GPIOC, GPIO_PIN_0,GPIO_PIN_RESET);
//	HAL_GPIO_WritePin(GPIOC, GPIO_PIN_1,GPIO_PIN_SET);
	HAL_GPIO_WritePin(GPIOC, GPIO_PIN_4,GPIO_PIN_RESET);
	HAL_GPIO_WritePin(GPIOC, GPIO_PIN_5,GPIO_PIN_RESET);
	HAL_GPIO_WritePin(GPIOC, GPIO_PIN_8,GPIO_PIN_RESET);
//	HAL_GPIO_WritePin(GPIOC, GPIO_PIN_12,GPIO_PIN_RESET);
//	HAL_GPIO_WritePin(GPIOD, GPIO_PIN_2,GPIO_PIN_RESET);
}
//void Chg_BW(uint8_t bw)
//{
//	SX1276LoRaSetOpMode(Stdby_mode);
//  SX1276LoRaSetSignalBandwidth( bw );
//	RF_RECEIVE();
//}
/* USER CODE END 4 */

void _Error_Handler(char * file, int line)
{
  while(1)
  {
  }
}

/************************ (C) COPYRIGHT STMicroelectronics *****END OF FILE****/
